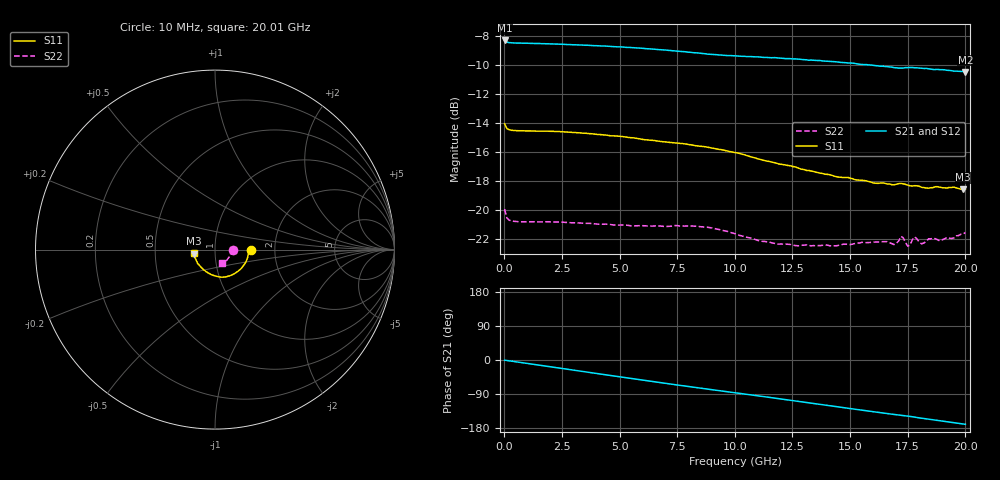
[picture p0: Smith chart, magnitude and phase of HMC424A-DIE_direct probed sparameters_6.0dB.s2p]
!s2p File: Measurements: S11, S21, S12, S22
# GHz S dB R 50.0
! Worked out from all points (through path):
!   201 points, 10 MHz to 20.01 GHz, reference 50 ohm
!   highest |S21| = -8.32 dB at 10 MHz (marker M1); lowest = -10.5 dB at 20.01 GHz (marker M2)
!   group delay of S21, straight-line fit = 23.4 ps
!   lowest |S11| = -18.6 dB at 19.91 GHz (marker M3), VSWR 1.27, Z = 39.6 - j1.8 ohm
!   |S11| at or under -10 dB: start of sweep to end of sweep
!   |S22| runs from -22.5 to -19.9 dB; largest |S21 - S12| = 0.0023
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0.01  -14.05 -1.0  -8.32 -0.5  -8.32 -0.4  -19.92 -1.8
0.11  -14.38 -2.0  -8.44 -1.4  -8.44 -1.4  -20.54 -2.8
0.41  -14.51 -3.5  -8.49 -3.9  -8.49 -3.9  -20.76 -3.2
2.01  -14.57 -14.7  -8.56 -18.1  -8.55 -18.0  -20.80 -11.2
3.41  -14.70 -24.8  -8.64 -30.4  -8.64 -30.4  -20.89 -18.4
5.01  -14.91 -36.8  -8.76 -44.4  -8.77 -44.3  -21.02 -26.4
6.71  -15.25 -49.3  -8.95 -59.1  -8.95 -59.1  -21.08 -34.3
8.81  -15.66 -66.2  -9.26 -76.8  -9.26 -76.7  -21.17 -45.5
10.01  -16.03 -76.7  -9.38 -86.4  -9.39 -86.3  -21.61 -51.5
11.81  -16.76 -92.0  -9.51 -101.2  -9.53 -101.1  -22.32 -55.5
13.41  -17.33 -105.5  -9.68 -114.7  -9.69 -114.6  -22.43 -57.2
15.11  -17.83 -121.0  -9.88 -129.0  -9.89 -128.9  -22.33 -59.4
16.71  -18.19 -136.4  -10.14 -142.0  -10.12 -142.0  -22.23 -63.0
17.01  -18.21 -138.8  -10.20 -144.4  -10.15 -144.4  -22.28 -61.4
17.21  -18.15 -141.2  -10.22 -145.9  -10.18 -145.9  -21.80 -62.1
17.51  -18.27 -144.5  -10.19 -148.2  -10.21 -148.5  -22.47 -63.6
17.81  -18.31 -146.8  -10.20 -150.8  -10.22 -150.8  -21.83 -62.5
18.11  -18.42 -150.4  -10.23 -153.6  -10.27 -153.3  -22.31 -63.1
18.41  -18.48 -153.4  -10.27 -156.0  -10.28 -155.9  -21.96 -61.9
18.91  -18.42 -159.0  -10.33 -160.4  -10.33 -160.1  -22.12 -62.7
19.91  -18.56 -169.1  -10.45 -168.8  -10.46 -168.7  -21.63 -61.5
20.01  -18.55 -169.9  -10.48 -169.7  -10.46 -169.5  -21.53 -61.0
